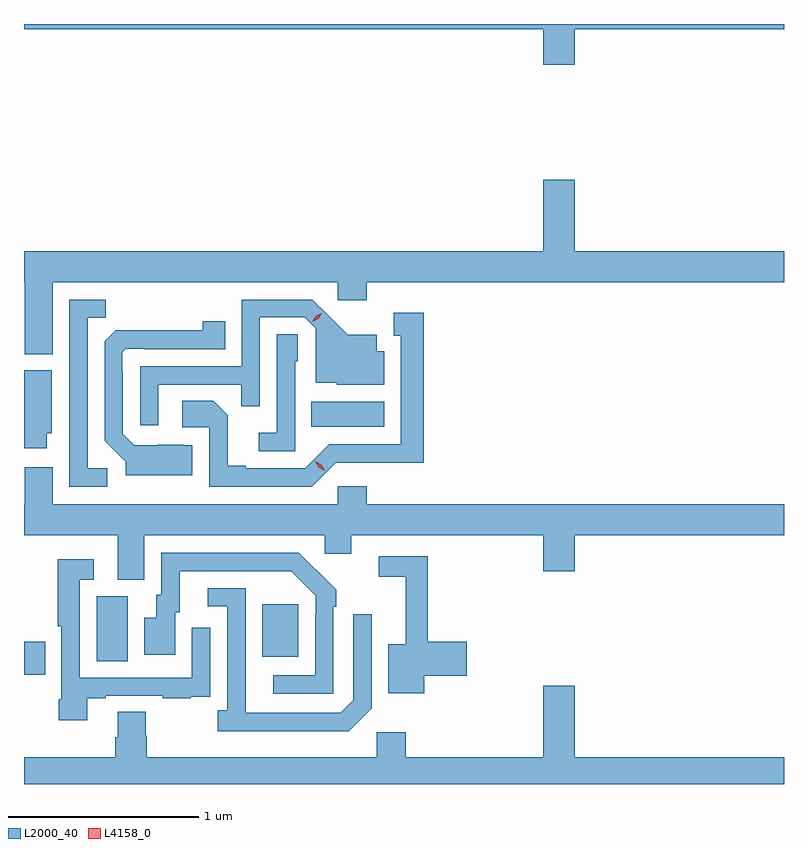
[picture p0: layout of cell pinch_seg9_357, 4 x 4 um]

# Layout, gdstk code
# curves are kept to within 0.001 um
import gdstk
lib = gdstk.Library(unit=1e-6, precision=1e-09)
def R(c, l, rs):  # rectangles x0, y0, x1, y1
    for r in rs: c.add(gdstk.rectangle(r[:2], r[2:], *l))
def P(c, l, *ps):  # polygons
    for p in ps: c.add(gdstk.Polygon(p, *l))
L2000_40 = (2000, 40)
L4158_0 = (4158, 0)

pinch_seg9_357 = lib.new_cell('pinch_seg9_357')
R(pinch_seg9_357, L2000_40, [(617.818,1183.698,617.929,1183.871), (618.2,1183.768,618.364,1184.112), (619.073,1183.793,619.261,1184.068), (619.33,1185.002,619.714,1185.136)])
P(pinch_seg9_357, L2000_40, [(620.716,1187.096),(621.818,1187.096),(621.818,1187.123),(617.818,1187.123),(617.818,1187.096),(620.552,1187.096),(620.552,1186.908),(620.716,1186.908)],
  [(617.968,1185.764),(619.47,1185.764),(619.47,1185.669),(619.622,1185.669),(619.622,1185.764),(621.818,1185.764),(621.818,1185.928),(620.716,1185.928),(620.716,1186.303),(620.552,1186.303),(620.552,1185.928),(617.818,1185.928),(617.818,1185.764),(617.821,1185.764),(617.821,1185.386),(617.968,1185.386)],
  [(618.256,1184.784),(618.153,1184.784),(618.153,1185.577),(618.249,1185.577),(618.249,1185.672),(618.057,1185.672),(618.057,1184.688),(618.256,1184.688)],
  [(618.525,1185.225),(618.961,1185.225),(618.961,1185.112),(619.059,1185.112),(619.059,1185.579),(619.296,1185.579),(619.353,1185.522),(619.353,1185.236),(619.464,1185.236),(619.464,1185.224),(619.714,1185.224),(619.714,1185.4),(619.675,1185.4),(619.675,1185.487),(619.523,1185.487),(619.336,1185.672),(618.963,1185.672),(618.963,1185.321),(618.429,1185.321),(618.429,1185.012),(618.525,1185.012)],
  [(619.458,1184.814),(619.921,1184.813),(619.921,1185.604),(619.763,1185.604),(619.763,1185.483),(619.802,1185.483),(619.802,1184.91),(619.425,1184.91),(619.299,1184.784),(618.985,1184.784),(618.985,1184.797),(618.891,1184.797),(618.891,1185.064),(618.815,1185.14),(618.651,1185.14),(618.651,1185),(618.792,1185),(618.792,1184.688),(619.332,1184.688)],
  [(618.703,1184.905),(618.659,1184.905),(618.656,1184.908),(618.399,1184.907),(618.339,1184.967),(618.339,1185.296),(618.336,1185.296),(618.336,1185.396),(618.354,1185.414),(618.454,1185.414),(618.454,1185.411),(618.878,1185.411),(618.878,1185.559),(618.76,1185.559),(618.76,1185.512),(618.302,1185.511),(618.243,1185.452),(618.243,1184.93),(618.353,1184.82),(618.353,1184.747),(618.703,1184.747)],
  [(619.245,1185.348),(619.26,1185.348),(619.26,1185.491),(619.149,1185.491),(619.149,1184.971),(619.053,1184.971),(619.053,1184.874),(619.245,1184.874)],
  [(617.938,1184.97),(617.965,1184.97),(617.965,1185.301),(617.818,1185.301),(617.818,1184.889),(617.938,1184.889)],
  [(618.451,1184.432),(619.401,1184.432),(619.401,1184.334),(619.54,1184.334),(619.54,1184.432),(620.552,1184.432),(620.552,1184.244),(620.716,1184.244),(620.716,1184.432),(621.818,1184.432),(621.818,1184.596),(619.622,1184.596),(619.622,1184.689),(619.47,1184.689),(619.47,1184.596),(617.968,1184.596),(617.968,1184.791),(617.821,1184.791),(617.821,1184.596),(617.818,1184.596),(617.818,1184.432),(618.311,1184.432),(618.311,1184.197),(618.451,1184.197)],
  [(619.446,1184.057),(619.461,1184.057),(619.461,1184.145),(619.264,1184.34),(618.54,1184.34),(618.54,1184.118),(618.515,1184.118),(618.515,1183.999),(618.452,1183.999),(618.452,1183.803),(618.613,1183.803),(618.613,1184.028),(618.637,1184.028),(618.637,1184.244),(619.225,1184.244),(619.353,1184.115),(619.353,1184.015),(619.35,1184.015),(619.35,1183.695),(619.131,1183.695),(619.131,1183.599),(619.446,1183.599)],
  [(619.924,1183.693),(620.149,1183.693),(620.149,1183.871),(619.943,1183.871),(619.943,1184.322),(619.686,1184.322),(619.686,1184.214),(619.826,1184.214),(619.826,1183.858),(619.736,1183.858),(619.736,1183.601),(619.924,1183.601)],
  [(618.151,1183.575),(618.247,1183.575),(618.247,1183.587),(618.547,1183.587),(618.547,1183.575),(618.695,1183.575),(618.695,1183.581),(618.797,1183.581),(618.797,1183.69),(618.798,1183.69),(618.798,1183.945),(618.702,1183.945),(618.702,1183.683),(618.111,1183.683),(618.111,1184.199),(618.184,1184.199),(618.184,1184.305),(617.995,1184.305),(617.995,1183.954),(618.015,1183.954),(618.015,1183.57),(618.002,1183.57),(618.002,1183.458),(618.151,1183.458)],
  [(619.647,1183.521),(619.647,1184.017),(619.551,1184.017),(619.551,1183.563),(619.485,1183.497),(618.985,1183.497),(618.984,1184.154),(618.786,1184.154),(618.786,1184.058),(618.888,1184.058),(618.888,1183.51),(618.837,1183.51),(618.837,1183.4),(619.526,1183.4)],
  [(621.818,1183.264),(620.716,1183.264),(620.716,1183.639),(620.552,1183.639),(620.552,1183.264),(619.826,1183.264),(619.826,1183.396),(619.674,1183.396),(619.674,1183.264),(618.464,1183.264),(618.464,1183.377),(618.459,1183.377),(618.459,1183.502),(618.311,1183.502),(618.311,1183.37),(618.299,1183.37),(618.299,1183.264),(617.818,1183.264),(617.818,1183.123),(621.818,1183.123)])
P(pinch_seg9_357, L4158_0, [(619.4,1184.771),(619.368,1184.79),(619.351,1184.823),(619.351,1184.823),(619.352,1184.823),(619.383,1184.804),(619.4,1184.771),(619.4,1184.771)],
  [(619.336,1185.556),(619.336,1185.556),(619.353,1185.586),(619.384,1185.601),(619.384,1185.601),(619.384,1185.601),(619.367,1185.571),(619.336,1185.556)])

lib.write_gds('pinch_seg9_357.gds')
